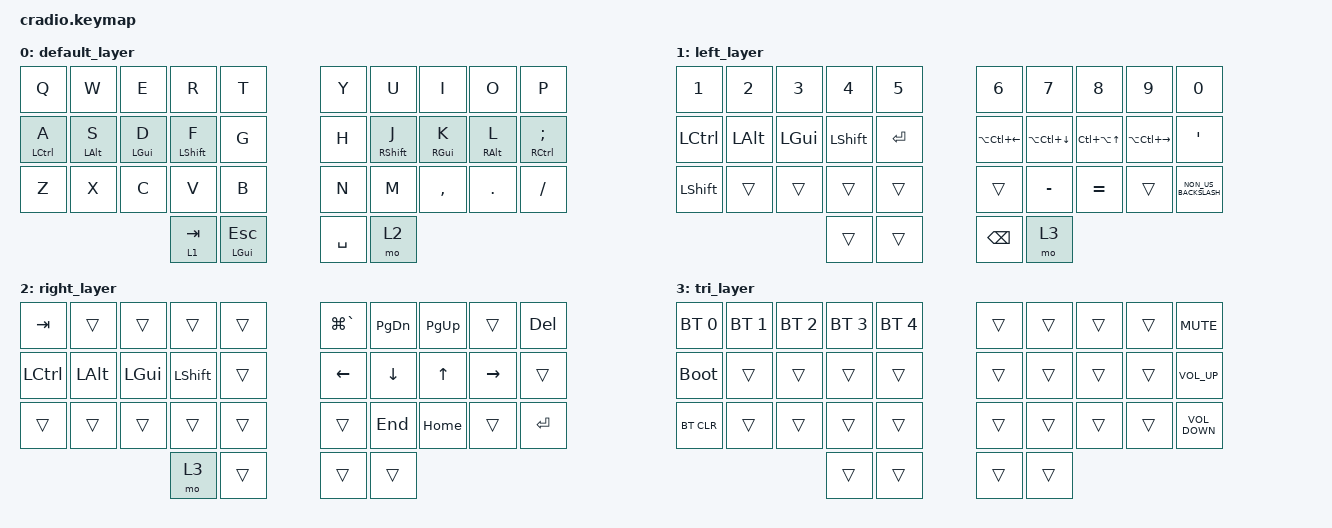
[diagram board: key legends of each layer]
// Copyright (c) 2022 The ZMK Contributors
// SPDX-License-Identifier: MIT
/*                              34 KEY MATRIX / LAYOUT MAPPING

    ╭────────────────────┬────────────────────╮ ╭─────────────────────┬─────────────────────╮
    │  0   1   2   3   4 │  5   6   7   8   9 │ │ LT4 LT3 LT2 LT1 LT0 │ RT0 RT1 RT2 RT3 RT4 │
    │ 10  11  12  13  14 │ 15  16  17  18  19 │ │ LM4 LM3 LM2 LM1 LM0 │ RM0 RM1 RM2 RM3 RM4 │
    │ 20  21  22  23  24 │ 25  26  27  28  29 │ │ LB4 LB3 LB2 LB1 LB0 │ RB0 RB1 RB2 RB3 RB4 │
    ╰───────────╮ 30  31 │ 32  33 ╭───────────╯ ╰───────────╮ LH1 LH0 │ RH0 RH1 ╭───────────╯
                ╰────────┴────────╯                         ╰─────────┴─────────╯             */

#include <behaviors.dtsi>
#include <dt-bindings/zmk/bt.h>
#include <dt-bindings/zmk/keys.h>

//#include <dt-bindings/zmk/mouse.h>
// Home row mods macro (CAGS for MacOS)

#define HRML(k1,k2,k3,k4) &thm LCTRL k1  &thm LALT k2  &thm LGUI k3  &thm LSHFT k4
#define HRMR(k1,k2,k3,k4) &thm RSHFT k1  &thm RGUI k2  &thm RALT k3  &thm RCTRL k4

/ {
    behaviors {
        // timerless homerow mods

        thm: timerless_homerow_mods {
            label = "timeless_homerow_mods";
            compatible = "zmk,behavior-hold-tap";
            #binding-cells = <2>;
            flavor = "balanced";
            tapping-term-ms = <200>;
            quick-tap-ms = <200>; // repeat on tap-into-hold
            require-prior-idle-ms = <120>;
            bindings = <&kp>, <&kp>;

            hold-trigger-on-release; // delay positional check until key-release
        };

        // layer-tap for thumb keys

        mlt: my_layer_tap {
            label = "my_layer_tap";
            compatible = "zmk,behavior-hold-tap";
            #binding-cells = <2>;
            flavor = "balanced";
            tapping-term-ms = <200>;
            quick-tap-ms = <200>; // repeat on tap-into-hold
            require-prior-idle-ms = <120>;
            bindings = <&mo>, <&kp>;

            hold-trigger-on-release; // delay positional check until key-release
        };

        td0: td0 {
            compatible = "zmk,behavior-tap-dance";
            label = "TD0";
            #binding-cells = <0>;
            bindings = <&kp SPACE>, <&kp ESC>;
        };
    };

    conditional_layers { compatible = "zmk,conditional-layers"; };

    combos {
        compatible = "zmk,combos";

        // ESC

        combo_esc {
            timeout-ms = <50>;
            key-positions = <0 1>;
            bindings = <&kp ESC>;
            layers = <0>;
        };

        // [

        combo_lbkt {
            timeout-ms = <50>;
            key-positions = <23 24>;
            bindings = <&kp LBKT>;
            layers = <0>;
        };

        // ]

        combo_rbkt {
            timeout-ms = <50>;
            key-positions = <25 26>;
            bindings = <&kp RBKT>;
            layers = <0>;
        };

        // {

        combo_lbrc {
            timeout-ms = <50>;
            key-positions = <13 14>;
            bindings = <&kp LBRC>;
            layers = <0>;
        };

        // }

        combo_rbrc {
            timeout-ms = <50>;
            key-positions = <15 16>;
            bindings = <&kp RBRC>;
            layers = <0>;
        };

        // (

        combo_lpar {
            timeout-ms = <50>;
            key-positions = <3 4>;
            bindings = <&kp LPAR>;
            layers = <0>;
        };

        // )

        combo_rpar {
            timeout-ms = <50>;
            key-positions = <5 6>;
            bindings = <&kp RPAR>;
            layers = <0>;
        };

        // `

        combo_pipe {
            bindings = <&kp PIPE>;
            key-positions = <29 19>;
            timeout-ms = <50>;
            layers = <0>;
        };

        // -
        // _
        // =
        // +
        // ~

        combo_bslh {
            bindings = <&kp BACKSLASH>;
            key-positions = <28 29>;
            timeout-ms = <50>;
            layers = <0>;
        };

        // C-SPC
        // C-S-TAB

        combo_tab_prev {
            bindings = <&kp LC(LS(TAB))>;
            key-positions = <11 12>;
            timeout-ms = <50>;
            layers = <0>;
        };

        // C-TAB

        combo_tab_next {
            bindings = <&kp LC(TAB)>;
            key-positions = <12 13>;
            timeout-ms = <50>;
            layers = <0>;
        };

        // C-LEFT
        // C-RIGHT
        // - [ ]

        combo_todo {
            bindings = <&todo>;
            key-positions = <14 15>;
            layers = <0>;
            timeout-ms = <50>;
        };

        combo_grave {
            bindings = <&kp GRAVE>;
            key-positions = <10 11>;
        };

        combo_tilde {
            bindings = <&kp TILDE>;
            key-positions = <19 18 20 21>;
        };

        combo_colon {
            bindings = <&kp COLON>;
            key-positions = <19 18>;
        };

        combo_at {
            bindings = <&kp AT_SIGN>;
            key-positions = <3 2>;
        };

        combo_hash {
            bindings = <&kp HASH>;
            key-positions = <6 7>;
        };
    };

    macros {
        todo: todo {
            compatible = "zmk,behavior-macro";
            label = "TODO";
            #binding-cells = <0>;
            wait-ms = <0>;
            tap-ms = <0>;
            bindings = <&kp MINUS &kp SPACE &kp LBKT &kp SPACE &kp RBKT &kp SPACE>;
        };
    };

    keymap {
        compatible = "zmk,keymap";

        default_layer {
            bindings = <
&kp Q         &kp W        &kp E        &kp R         &kp T              &kp Y      &kp U         &kp I        &kp O        &kp P
&thm LCTRL A  &thm LALT S  &thm LGUI D  &thm LSHFT F  &kp G              &kp H      &thm RSHFT J  &thm RGUI K  &thm RALT L  &thm RCTRL SEMI
&kp Z         &kp X        &kp C        &kp V         &kp B              &kp N      &kp M         &kp COMMA    &kp DOT      &kp FSLH
                                        &mlt 1 TAB    &mt LGUI ESCAPE    &kp SPACE  &mo 2
            >;
        };

        left_layer {
            bindings = <
&kp NUMBER_1  &kp NUMBER_2  &kp NUMBER_3  &kp NUMBER_4    &kp NUMBER_5    &kp NUMBER_6      &kp NUMBER_7      &kp NUMBER_8    &kp NUMBER_9       &kp NUMBER_0
&kp LCTRL     &kp LEFT_ALT  &kp LEFT_GUI  &kp LEFT_SHIFT  &kp ENTER       &kp LA(LC(LEFT))  &kp LA(LC(DOWN))  &kp LC(LA(UP))  &kp LA(LC(RIGHT))  &kp SQT
&kp LSHFT     &trans        &trans        &trans          &trans          &trans            &kp MINUS         &kp EQUAL       &trans             &kp NON_US_BACKSLASH
                                          &trans          &trans          &kp BACKSPACE     &mo 3
            >;
        };

        right_layer {
            bindings = <
&kp TAB    &trans    &trans    &trans      &trans    &kp LG(GRAVE)  &kp PAGE_DOWN  &kp PAGE_UP  &trans     &kp DELETE
&kp LCTRL  &kp LALT  &kp LGUI  &kp LSHIFT  &trans    &kp LEFT       &kp DOWN       &kp UP       &kp RIGHT  &trans
&trans     &trans    &trans    &trans      &trans    &trans         &kp END        &kp HOME     &trans     &kp ENTER
                               &mo 3       &trans    &trans         &trans
            >;
        };

        tri_layer {
            bindings = <
&bt BT_SEL 0  &bt BT_SEL 1  &bt BT_SEL 2  &bt BT_SEL 3  &bt BT_SEL 4    &trans  &trans  &trans  &trans  &kp K_MUTE
&bootloader   &trans        &trans        &trans        &trans          &trans  &trans  &trans  &trans  &kp C_VOLUME_UP
&bt BT_CLR    &trans        &trans        &trans        &trans          &trans  &trans  &trans  &trans  &kp C_VOLUME_DOWN
                                          &trans        &trans          &trans  &trans
            >;
        };
    };
};
